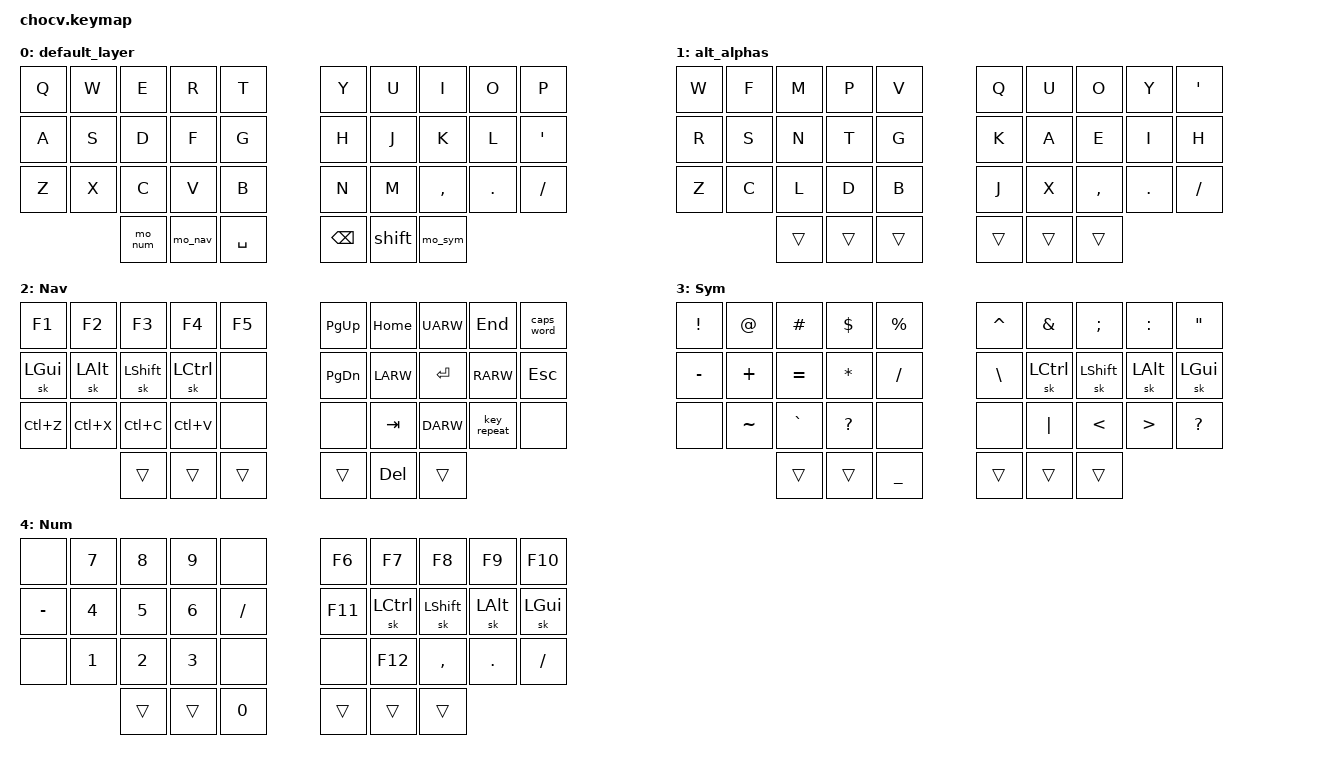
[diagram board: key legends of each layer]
/*
 * Copyright (c) 2020 The ZMK Contributors
 *
 * SPDX-License-Identifier: MIT
 */

#include <behaviors.dtsi>
#include <dt-bindings/zmk/keys.h>

/* Layers */
#define DEF_L 0
#define ALT_L 1
#define NAV_L 2
#define SYM_L 3
#define NUM_L 4

/* Behavior Settings */
&caps_word {
  continue-list = <UNDERSCORE MINUS BACKSPACE>;
};

&sk {
  release-after-ms = <60000>;
};

/ {
    ZMK_MACRO(mo_nav,
        wait-ms = <0>;
        tap-ms = <0>;
        bindings
        = <&macro_tap &kp K_CANCEL>
        , <&macro_press &mo NAV_L>
        , <&macro_pause_for_release>
        , <&macro_release &mo NAV_L>;)

    ZMK_MACRO(mo_sym,
        wait-ms = <0>;
        tap-ms = <0>;
        bindings
        = <&macro_tap &kp K_CANCEL>
        , <&macro_press &mo SYM_L>
        , <&macro_pause_for_release>
        , <&macro_release &mo SYM_L>;)

    ZMK_MACRO(mo_num,
        wait-ms = <0>;
        tap-ms = <0>;
        bindings
        = <&macro_tap &kp K_CANCEL>
        , <&macro_press &mo NUM_L>
        , <&macro_pause_for_release>
        , <&macro_release &mo NUM_L>;)

    ZMK_MACRO(shift,
        wait-ms = <0>;
        tap-ms = <0>;
        bindings
        = <&macro_tap &kp K_CANCEL>
        , <&macro_press &kp LSHFT>
        , <&macro_pause_for_release>
        , <&macro_release &kp LSHFT>;)         

    combos {
        compatible = "zmk,combos";

        #define COMBO(NAME, BINDINGS, KEYPOS, LAYERS) \
          combo_##NAME { \
            bindings = <BINDINGS>; \
            key-positions = <KEYPOS>; \
            layers = <LAYERS>; \
          };

        /*                KEY POSITIONS

          ╭────────────────────╮ ╭────────────────────╮
          │  0   1   2   3   4 │ │  5   6   7   8   9 │
          │ 10  11  12  13  14 │ │ 15  16  17  18  19 │
          │ 20  21  22  23  24 | | 25  26  27  28  29 │
          ╰───────╮ 30  31  23 │ │ 33  34  35 ╭───────╯
                  ╰────────────╯ ╰────────────╯            */
        
        /* Brackets */
        COMBO(left_bracket, &kp LBKT, 1 11, DEF_L ALT_L SYM_L NUM_L)
        COMBO(right_bracket, &kp RBKT, 8 18, DEF_L ALT_L SYM_L NUM_L)
        COMBO(left_parenthesis, &kp LPAR, 2 12, DEF_L ALT_L SYM_L NUM_L)
        COMBO(right_parenthesis, &kp RPAR, 7 17, DEF_L ALT_L SYM_L NUM_L)
        COMBO(left_brace, &kp LBRC, 3 13, DEF_L ALT_L SYM_L NUM_L)
        COMBO(right_brace, &kp RBRC, 6 16, DEF_L ALT_L SYM_L NUM_L)

        /* Convenience */
        COMBO(esc, &kp ESC, 3 4, DEF_L ALT_L)
        COMBO(del, &kp DEL, 13 14, DEF_L ALT_L)
        COMBO(select_all, &kp LC(A), 21 22, NAV_L)

        COMBO(alt_alphas, &tog ALT_L, 5 15 25, DEF_L ALT_L)
    };

    keymap {
        compatible = "zmk,keymap";

        default_layer {
            bindings = <
        // ╭─────────────┬─────────────┬─────────────┬─────────────┬─────────────╮   ╭─────────────┬─────────────┬─────────────┬─────────────┬─────────────╮
             &kp Q         &kp W         &kp E         &kp R         &kp T             &kp Y         &kp U         &kp I         &kp O         &kp P
             &kp A         &kp S         &kp D         &kp F         &kp G             &kp H         &kp J         &kp K         &kp L         &kp QUOT
             &kp Z         &kp X         &kp C         &kp V         &kp B             &kp N         &kp M         &kp COMMA     &kp DOT       &kp FSLH
        // ╰─────────────┴─────────────╮                                                                                       ╭─────────────┴─────────────╯
                                         &mo_num       &mo_nav       &kp SPACE         &kp BSPC      &shift        &mo_sym
        //                             ╰─────────────┴─────────────┴─────────────╯   ╰─────────────┴─────────────┴─────────────╯
               
            >;
        };

        alt_alphas {
            bindings = <
        // ╭─────────────┬─────────────┬─────────────┬─────────────┬─────────────╮   ╭─────────────┬─────────────┬─────────────┬─────────────┬─────────────╮
             &kp W         &kp F         &kp M         &kp P         &kp V             &kp Q         &kp U         &kp O         &kp Y         &kp QUOT
             &kp R         &kp S         &kp N         &kp T         &kp G             &kp K         &kp A         &kp E         &kp I         &kp H
             &kp Z         &kp C         &kp L         &kp D         &kp B             &kp J         &kp X         &kp COMMA     &kp DOT       &kp FSLH
        // ╰─────────────┴─────────────╮                                                                                       ╭─────────────┴─────────────╯
                                         &trans        &trans        &trans            &trans        &trans        &trans
        //                             ╰─────────────┴─────────────┴─────────────╯   ╰─────────────┴─────────────┴─────────────╯
               
            >;
        };

        nav_layer {
            label = "Nav";
            bindings = <
        // ╭─────────────┬─────────────┬─────────────┬─────────────┬─────────────╮   ╭─────────────┬─────────────┬─────────────┬─────────────┬─────────────╮
             &kp F1        &kp F2        &kp F3        &kp F4        &kp F5            &kp PG_UP     &kp HOME      &kp UARW      &kp END       &caps_word
             &sk LGUI      &sk LALT      &sk LSHFT     &sk LCTRL     &none             &kp PG_DN     &kp LARW      &kp ENTER     &kp RARW      &kp ESC
             &kp LC(Z)     &kp LC(X)     &kp LC(C)     &kp LC(V)     &none             &none         &kp TAB       &kp DARW      &key_repeat   &none
        // ╰─────────────┴─────────────╮                                                                                       ╭─────────────┴─────────────╯
                                         &trans        &trans        &trans            &trans        &kp DEL       &trans
        //                             ╰─────────────┴─────────────┴─────────────╯   ╰─────────────┴─────────────┴─────────────╯
            >;
        };

        sym_layer {
            label = "Sym";
            bindings = <
        // ╭─────────────┬─────────────┬─────────────┬─────────────┬─────────────╮   ╭─────────────┬─────────────┬─────────────┬─────────────┬─────────────╮
             &kp EXCL      &kp AT        &kp POUND     &kp DLLR      &kp PRCNT         &kp CARET     &kp AMPS      &kp SEMI      &kp COLON     &kp DQT
             &kp MINUS     &kp PLUS      &kp EQUAL     &kp ASTRK     &kp FSLH          &kp BSLH      &sk LCTRL     &sk LSHFT     &sk LALT      &sk LGUI
             &none         &kp TILDE     &kp GRAVE     &kp QMARK     &none             &none         &kp PIPE      &kp LT        &kp GT        &kp QMARK
        // ╰─────────────┴─────────────╮                                                                                       ╭─────────────┴─────────────╯
                                         &trans        &trans        &kp UNDER         &trans        &trans        &trans
        //                             ╰─────────────┴─────────────┴─────────────╯   ╰─────────────┴─────────────┴─────────────╯
            >;
        };

        num_layer {
            label = "Num";
            bindings = <
        // ╭─────────────┬─────────────┬─────────────┬─────────────┬─────────────╮   ╭─────────────┬─────────────┬─────────────┬─────────────┬─────────────╮
             &none         &kp N7        &kp N8        &kp N9        &none             &kp F6        &kp F7        &kp F8        &kp F9        &kp F10
             &kp MINUS     &kp N4        &kp N5        &kp N6        &kp SLASH         &kp F11       &sk LCTRL     &sk LSHFT     &sk LALT      &sk LGUI
             &none         &kp N1        &kp N2        &kp N3        &none             &none         &kp F12       &kp COMMA     &kp DOT       &kp FSLH
        // ╰─────────────┴─────────────╮                                                                                       ╭─────────────┴─────────────╯
                                         &trans        &trans        &kp N0            &trans        &trans        &trans
        //                             ╰─────────────┴─────────────┴─────────────╯   ╰─────────────┴─────────────┴─────────────╯
            >;
        };
    };
};
